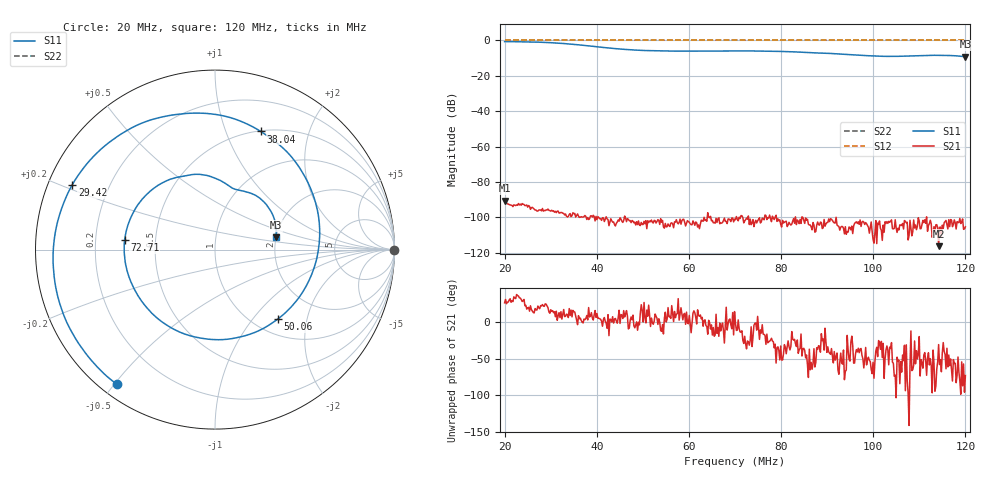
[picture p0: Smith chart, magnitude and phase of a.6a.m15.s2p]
! Anritsu VNA Master:  Model: MS2036C/10/77
! SN:  1601066
! /bd0/18may07/256.ew.m15.s2p
! Existing Calibration Information:
! TYPE:  Current Settings,  Active Cal Settings
! TIME:  05/07/2018 02:32:13 PM,  05/07/2018 02:21:54 PM
! INTERNAL TEMP:  56.8 C,  55.5 C
! # POINTS:  500,  500
! START FREQ:  20.000 MHz,  20.000 MHz
! STOP FREQ:  120.000 MHz,  120.000 MHz
! SOURCE POWER:  High,  High
! IFBW:  50 Hz,  50 Hz
! AVG FACTOR:  1 ,  1
! REF PLANE 1:  0 mm,  0 mm
! REF PLANE 2:  0 mm,  0 mm
! CAL TYPE:  Full S11,  Full S11
! CAL METHOD:  SOLT,  SOLT
! CAL LINE TYPE:  Coax,  Coax
! DUT PORT 1:  K-Conn(F),  K-Conn(F)
! DUT PORT 2:  K-Conn(F),  K-Conn(F)
! CAL STATUS:  OK: Accuracy High,  --
# GHZ S DB R 50.0
! FREQ.GHZ  S11DB  S11A  S21DB  S21A  S12DB  S12A  S22DB  S22A
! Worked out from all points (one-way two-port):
!   500 points, 20 MHz to 120 MHz, reference 50 ohm
!   highest |S21| = -90.65 dB at 20 MHz (marker M1); lowest = -116.3 dB at 114.2 MHz (marker M2)
!   lowest |S11| = -9.2 dB at 120 MHz (marker M3), VSWR 2.05, Z = 99.4 + j15.7 ohm
!   |S11| at or under -10 dB: nowhere
!   |S22| runs from 0.0 to 0.0 dB; largest |S21 - S12| = 1
!   S11 on the Smith chart (normalised r, x): 20 MHz: 0.05, -0.51; 29.42 MHz: 0.07, +0.22; 38.04 MHz: 0.51, +1.33; 50.06 MHz: 1.27, -1.35; 72.71 MHz: 0.33, +0.05; 120 MHz: 1.99, +0.31
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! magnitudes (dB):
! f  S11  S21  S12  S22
! 20 MHz  -0.6  -90.7  0.0  0.0
! 24.81 MHz  -0.8  -93.1  0.0  0.0
! 29.42 MHz  -1.2  -95.3  0.0  0.0
! 33.03 MHz  -1.8  -98.7  0.0  0.0
! 36.83 MHz  -2.7  -99.9  0.0  0.0
! 38.04 MHz  -3.0  -100.2  0.0  0.0
! 44.85 MHz  -4.8  -102.2  0.0  0.0
! 50.06 MHz  -5.7  -104.1  0.0  0.0
! 53.47 MHz  -5.9  -101.9  0.0  0.0
! 57.07 MHz  -6.0  -102.7  0.0  0.0
! 70.1 MHz  -5.9  -101.5  0.0  0.0
! 72.71 MHz  -5.9  -101.1  0.0  0.0
! 79.52 MHz  -6.2  -102.0  0.0  0.0
! 86.73 MHz  -6.9  -107.1  0.0  0.0
! 90.94 MHz  -7.4  -101.2  0.0  0.0
! 99.96 MHz  -8.8  -112.4  0.0  0.0
! 103.4 MHz  -9.0  -102.3  0.0  0.0
! 106.4 MHz  -8.9  -103.5  0.0  0.0
! 111.6 MHz  -8.4  -99.7  0.0  0.0
! 114.2 MHz  -8.4  -116.3  0.0  0.0
! 117.4 MHz  -8.6  -103.9  0.0  0.0
! 120 MHz  -9.2  -105.4  0.0  0.0
